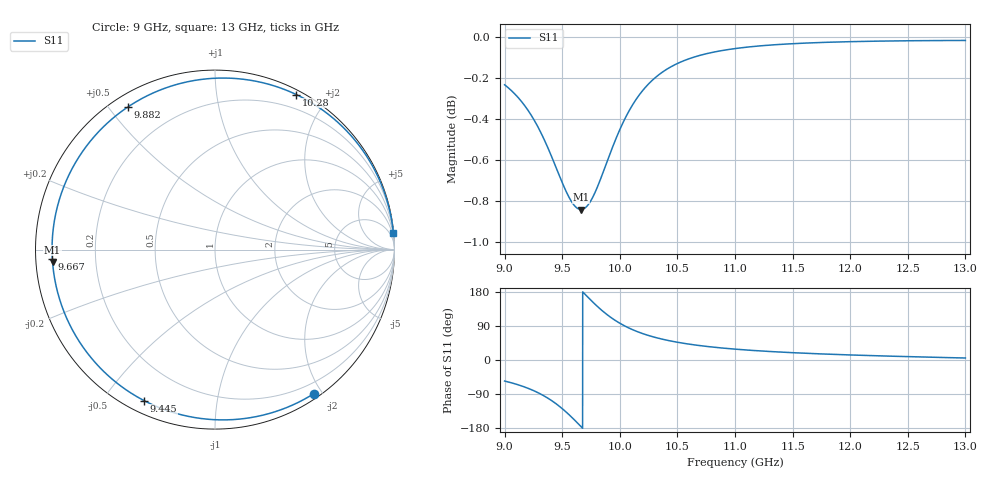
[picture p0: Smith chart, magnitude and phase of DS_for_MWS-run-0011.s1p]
! TOUCHSTONE file generated by CST DESIGN STUDIO
! Date and time: Wed Feb  5 13:46:45 2025
! Project name: C:\Work\MatlabApps\UnitCellOptimizationMatlab\CST\unitcell.cst
! Tree item: Tasks\Sweep1\SPara1\S-Parameters
! Header version: 2024
! Port assignment regex: !\s*Touchstone port\s*([0-9]+)\s*=\s*(CST MWS port|CST DES external port|CST DES block port)\s*(.+)\s* \(\"(.*)\"\)(\s*mode\s*([0-9]+))?.*
! Touchstone port assignment:
! Touchstone port 1 = CST DES external port 1 ("")
# GHz S MA R 50
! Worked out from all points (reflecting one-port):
!   4001 points, 9 GHz to 13 GHz, reference 50 ohm
!   lowest |S11| = -0.8 dB at 9.663 GHz (marker M1), VSWR 20.69, Z = 2.42 - j1.91 ohm
!   phase of S11 starts at -56 deg and turns -299 deg over the sweep
!   S11 on the Smith chart (normalised r, x): 9 GHz: 0.06, -1.90; 9.445 GHz: 0.05, -0.64; 9.667 GHz: 0.05, -0.03; 9.882 GHz: 0.05, +0.56; 10.28 GHz: 0.05, +1.65; 13 GHz: 1, +22
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9  0.9734 -55.5
9.116  0.9666 -65.3
9.229  0.9572 -77.8
9.349  0.9433 -95.9
9.399  0.9364 -105.3
9.445  0.9296 -115.1
9.5  0.9216 -128.3
9.544  0.9158 -140.0
9.59  0.911 -153.2
9.627  0.9086 -164.4
9.663  0.9078 -175.6
9.667  0.9078 -176.9
9.712  0.9093 169.1
9.76  0.9134 154.5
9.822  0.9217 136.8
9.882  0.9312 121.5
9.938  0.9402 109.0
10  0.9493 97.0
10.132  0.9646 77.3
10.275  0.9754 62.3
10.38  0.9808 54.2
10.5  0.9851 46.8
10.719  0.99 37.1
11  0.9933 28.7
11.5  0.996 19.3
12  0.9972 13.3
12.5  0.9977 8.9
13  0.9979 5.3
